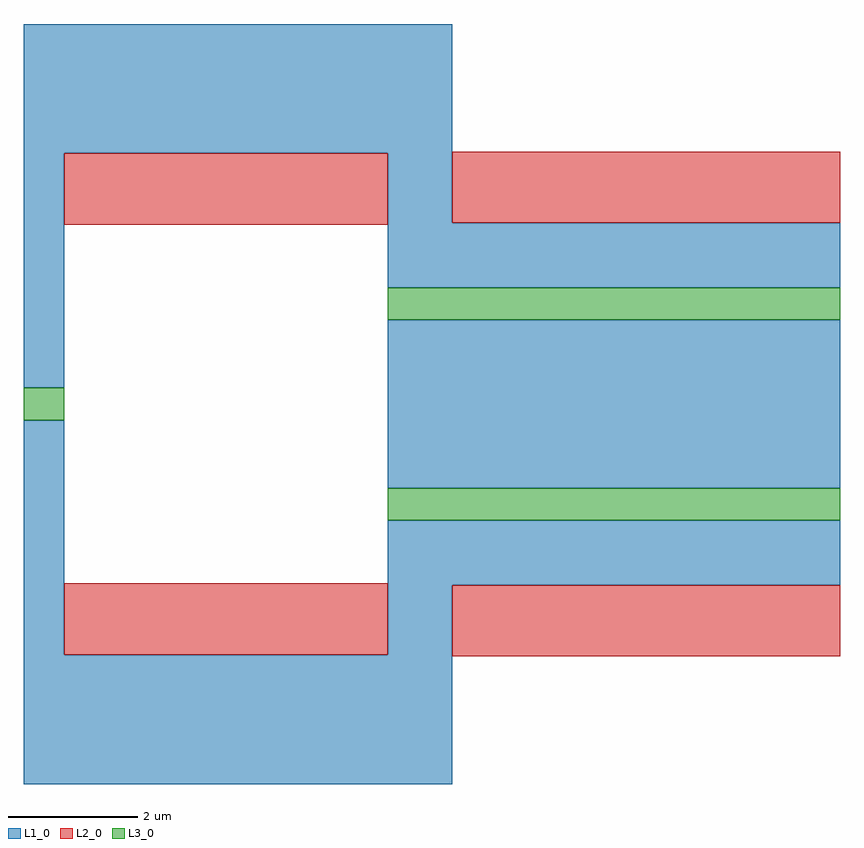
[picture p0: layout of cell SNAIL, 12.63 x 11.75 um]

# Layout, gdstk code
import gdstk
lib = gdstk.Library(unit=1e-6, precision=1e-09)
def R(c, l, rs):  # rectangles x0, y0, x1, y1
    for r in rs: c.add(gdstk.rectangle(r[:2], r[2:], *l))
def P(c, l, *ps):  # polygons
    for p in ps: c.add(gdstk.Polygon(p, *l))
L1_0 = (1, 0)
L2_0 = (2, 0)
L3_0 = (3, 0)

snail = lib.new_cell('SNAIL')
R(snail, L1_0, [(5.63,-7.175,12.63,-4.575)])
P(snail, L1_0, [(0,0),(6.63,0),(6.63,-3.075),(12.63,-3.075),(12.63,-4.075),(5.63,-4.075),(5.63,-2),(0.63,-2),(0.63,-5.625),(0,-5.625),(0,-4.625),(0,-4.625)],
  [(0,-11.75),(6.63,-11.75),(6.63,-8.675),(12.63,-8.675),(12.63,-7.675),(5.63,-7.675),(5.63,-9.75),(0.63,-9.75),(0.63,-6.125),(0,-6.125),(0,-7.125),(0,-7.125)])
R(snail, L2_0, [(6.63,-9.775,12.63,-8.675), (0.63,-9.75,5.63,-8.65), (0.63,-3.1,5.63,-2), (6.63,-3.075,12.63,-1.975)])
R(snail, L3_0, [(5.63,-7.675,12.63,-7.175), (0,-6.125,0.63,-5.625), (5.63,-4.575,12.63,-4.075)])

lib.write_gds('SNAIL.gds')
